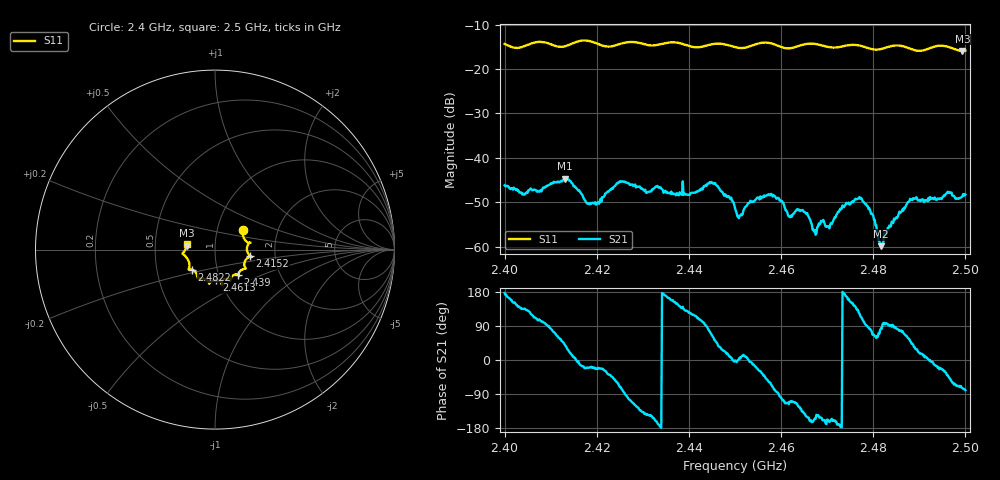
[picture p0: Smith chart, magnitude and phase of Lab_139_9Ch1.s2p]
# Hz S RI R 50
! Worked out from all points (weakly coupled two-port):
!   601 points, 2.4 GHz to 2.5 GHz, reference 50 ohm
!   highest |S21| = -44.68 dB at 2.4132 GHz (marker M1); lowest = -59.9 dB at 2.4817 GHz (marker M2)
!   lowest |S11| = -15.9 dB at 2.4993 GHz (marker M3), VSWR 1.38, Z = 36.3 + j1.61 ohm
!   |S11| at or under -10 dB: start of sweep to end of sweep
!   S12 and S22 are empty: the file has one direction only
!   S11 on the Smith chart (normalised r, x): 2.4 GHz: 1.33, +0.31; 2.4152 GHz: 1.48, -0.11; 2.439 GHz: 1.24, -0.36; 2.4613 GHz: 0.96, -0.34; 2.4822 GHz: 0.75, -0.17; 2.5 GHz: 0.73, +0.05
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2.4e9  0.1553 0.1117  -0.0049 0.000276  0 0  0 0
2.413167e9  0.1802 -0.0121  0.00458 0.00361  0 0  0 0
2.415167e9  0.1951 -0.0362  0.0048 0.000451  0 0  0 0
2.416667e9  0.2046 -0.0422  0.0038 -0.00101  0 0  0 0
2.42e9  0.1894 -0.0416  0.00278 -0.00119  0 0  0 0
2.425e9  0.1658 -0.0954  0.00179 -0.00515  0 0  0 0
2.433333e9  0.1325 -0.1327  -0.00457 -0.000829  0 0  0 0
2.439e9  0.1279 -0.139  -0.00268 0.0029  0 0  0 0
2.445333e9  0.0839 -0.1721  0.0027 0.00446  0 0  0 0
2.45e9  0.0683 -0.1629  0.00272 -5.8e-05  0 0  0 0
2.4575e9  0.0403 -0.1923  0.00195 -0.00325  0 0  0 0
2.461333e9  0.00803 -0.1707  -0.00095 -0.00225  0 0  0 0
2.466667e9  -0.0328 -0.1904  -0.00172 -0.000493  0 0  0 0
2.4705e9  -0.0477 -0.1697  -0.00154 -0.00045  0 0  0 0
2.477e9  -0.0959 -0.1571  -0.00195 0.00305  0 0  0 0
2.479667e9  -0.105 -0.1306  0.000609 0.0023  0 0  0 0
2.481667e9  -0.1234 -0.1137  0.000116 0.00101  0 0  0 0
2.482167e9  -0.1287 -0.1117  -0.000137 0.00109  0 0  0 0
2.483333e9  -0.14 -0.1101  -9.17e-05 0.00163  0 0  0 0
2.4885e9  -0.1421 -0.086  0.00247 0.00227  0 0  0 0
2.499333e9  -0.1585 0.0217  0.000991 -0.00352  0 0  0 0
2.5e9  -0.158 0.0338  0.000704 -0.0038  0 0  0 0
